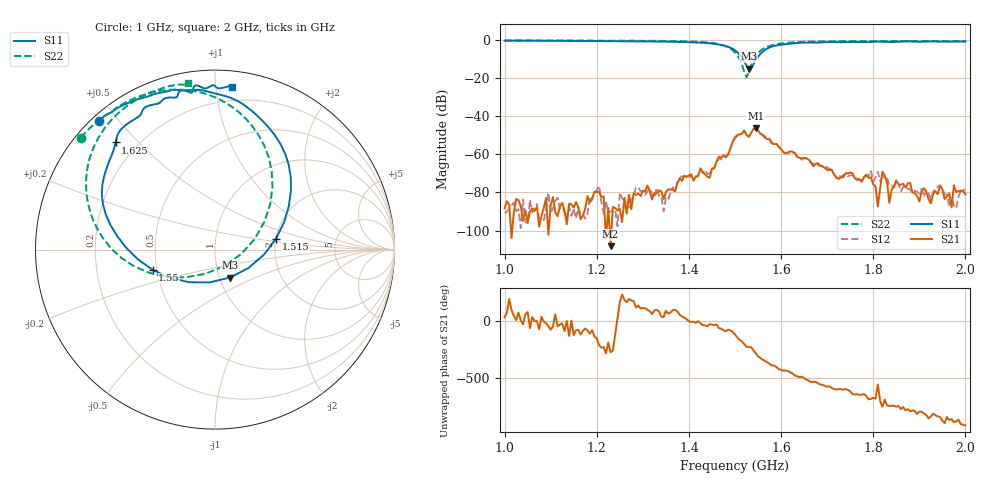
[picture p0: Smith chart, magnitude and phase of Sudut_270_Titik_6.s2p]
# Hz S RI R 50
! CMT, C1220, 16058040, 17.2.0/1
! Date: 14/08/2018 12:24:20
! Data: Format (Calibration Info)
! Freq  S11: Re/Im (F2)  S21: Re/Im (F2)  S12: Re/Im (F2)  S22: Re/Im (F2)
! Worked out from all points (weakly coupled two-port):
!   201 points, 1 GHz to 2 GHz, reference 50 ohm
!   highest |S21| = -46.29 dB at 1.545 GHz (marker M1); lowest = -108.2 dB at 1.23 GHz (marker M2)
!   lowest |S11| = -15.1 dB at 1.53 GHz (marker M3), VSWR 1.43, Z = 55.9 - j18 ohm
!   |S11| at or under -10 dB: 1.517 GHz to 1.547 GHz (29.75 MHz wide, 1.94 % of centre)
!   |S22| runs from -19.6 to -0.2 dB; largest |S21 - S12| = 0.00038
!   S11 on the Smith chart (normalised r, x): 1 GHz: 0.02, +0.44; 1.515 GHz: 2.00, +0.27; 1.55 GHz: 0.47, -0.12; 1.625 GHz: 0.12, +0.43; 2 GHz: 0.10, +1.11
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1e9  -0.646 0.7154  3.29e-05 2.05e-05  1.56e-05 -2.41e-05  -0.7479 0.6243
1.17e9  -0.4698 0.8231  1.56e-06 -2.43e-05  2.3e-05 -1.36e-05  -0.6111 0.7488
1.23e9  -0.386 0.8494  2.93e-07 3.9e-06  2.33e-06 -3.18e-05  -0.5556 0.7856
1.335e9  -0.2059 0.889  1.5e-05 0.000113  4.66e-05 6.76e-05  -0.3962 0.8624
1.37e9  -0.1019 0.8896  -1.09e-05 0.000105  2.8e-05 0.000105  -0.3156 0.8826
1.38e9  -0.0787 0.8885  0.00014 0.000186  6.77e-05 0.000229  -0.2875 0.887
1.425e9  0.0802 0.848  0.000403 -0.000155  0.00038 -0.000174  -0.1145 0.8827
1.445e9  0.1617 0.8059  0.000212 -0.000118  0.000255 -0.000178  -0.0052 0.8507
1.5e9  0.4231 0.3294  -0.00137 -0.00244  -0.00132 -0.0023  0.3201 0.3481
1.515e9  0.3395 0.0593  -0.00349 -0.000122  -0.00348 -0.000185  0.2217 0.0596
1.53e9  0.0818 -0.1561  -0.00186 0.0022  -0.00185 0.00222  -0.0535 -0.1348
1.545e9  -0.25 -0.1571  0.000986 0.00475  0.000872 0.00467  -0.3669 -0.1292
1.55e9  -0.3471 -0.1129  0.00267 0.00331  0.00254 0.00343  -0.4509 -0.0929
1.625e9  -0.554 0.5973  -0.000194 -0.00115  -0.000162 -0.00108  -0.6945 0.5201
1.67e9  -0.4294 0.7379  -0.000482 -6.83e-05  -0.000556 -8.22e-05  -0.6187 0.6711
1.785e9  -0.2117 0.8512  0.000127 0.000266  0.000115 0.000238  -0.4391 0.8333
1.81e9  -0.1885 0.8866  -4.16e-05 1.09e-05  0.000284 0.000206  -0.4041 0.8534
1.82e9  -0.1678 0.8862  0.000304 -0.000172  0.000245 1.93e-05  -0.3903 0.8601
1.835e9  -0.1368 0.8747  4.96e-05 -1.95e-05  0.000144 -4.98e-05  -0.3705 0.8697
1.85e9  -0.1254 0.8844  0.000182 -0.000101  0.000178 -5.67e-05  -0.3504 0.8788
1.885e9  -0.0817 0.9073  4.68e-05 -8.77e-05  7.59e-05 -6.29e-05  -0.3004 0.897
2e9  0.0969 0.9062  -8.71e-05 2e-05  -0.000115 2.91e-05  -0.1487 0.9279
